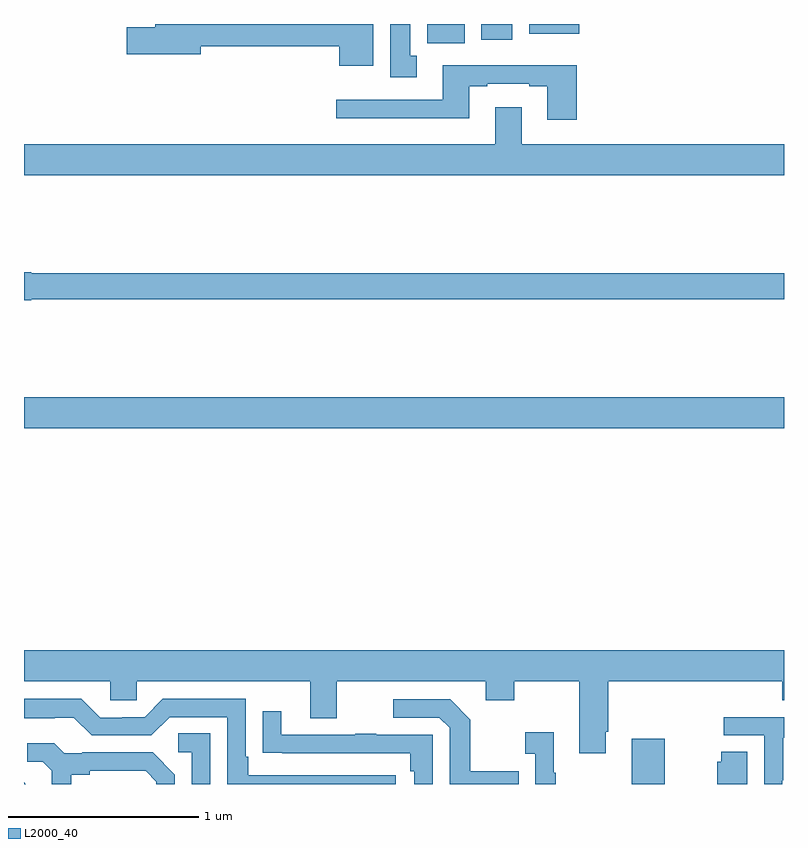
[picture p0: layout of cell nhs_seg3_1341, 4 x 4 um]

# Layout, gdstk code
import gdstk
lib = gdstk.Library(unit=1e-6, precision=1e-09)
def R(c, l, rs):  # rectangles x0, y0, x1, y1
    for r in rs: c.add(gdstk.rectangle(r[:2], r[2:], *l))
def P(c, l, *ps):  # polygons
    for p in ps: c.add(gdstk.Polygon(p, *l))
L2000_40 = (2000, 40)

nhs_seg3_1341 = lib.new_cell('nhs_seg3_1341')
R(nhs_seg3_1341, L2000_40, [(184.199,676.4,184.372,676.639), (181,678.272,185,678.436), (183.122,680.3,183.319,680.4), (183.407,680.318,183.571,680.4), (183.659,680.348,183.923,680.4)])
P(nhs_seg3_1341, L2000_40, [(182.839,680.4),(181.691,680.4),(181.691,680.384),(181.542,680.384),(181.542,680.242),(181.93,680.242),(181.93,680.284),(182.66,680.284),(182.66,680.18),(182.839,680.18)],
  [(183.067,680.234),(183.034,680.234),(183.034,680.4),(182.927,680.4),(182.927,680.121),(183.067,680.121)],
  [(183.908,680.182),(183.203,680.182),(183.203,680.001),(182.643,680.001),(182.643,679.904),(183.343,679.904),(183.343,680.073),(183.439,680.073),(183.439,680.085),(183.659,680.085),(183.659,680.073),(183.755,680.073),(183.755,679.896),(183.908,679.896)],
  [(185,679.768),(183.619,679.768),(183.619,679.963),(183.479,679.963),(183.479,679.768),(181,679.768),(181,679.604),(185,679.604)],
  [(181.038,678.952),(185,678.952),(185,679.088),(181.038,679.088),(181.038,679.094),(181,679.094),(181,678.947),(181.038,678.947)],
  [(184.063,676.675),(184.076,676.675),(184.076,676.94),(184.991,676.94),(184.991,676.841),(185,676.841),(185,677.104),(181,677.104),(181,676.94),(181.455,676.94),(181.455,676.842),(181.593,676.842),(181.593,676.94),(182.507,676.94),(182.507,676.746),(182.647,676.746),(182.647,676.94),(183.431,676.94),(183.431,676.841),(183.579,676.841),(183.579,676.94),(183.923,676.94),(183.923,676.563),(184.063,676.563)],
  [(182.956,676.446),(182.179,676.446),(182.179,676.543),(182.166,676.543),(182.166,676.848),(181.731,676.848),(181.635,676.752),(181.517,676.752),(181.517,676.749),(181.401,676.749),(181.301,676.849),(181,676.849),(181,676.745),(181.163,676.745),(181.163,676.749),(181.263,676.749),(181.356,676.656),(181.671,676.656),(181.767,676.752),(182.07,676.752),(182.07,676.4),(182.956,676.4)],
  [(183.605,676.467),(183.349,676.467),(183.349,676.739),(183.243,676.845),(182.943,676.845),(182.943,676.749),(183.186,676.749),(183.24,676.695),(183.24,676.4),(183.605,676.4)],
  [(183.15,676.659),(182.855,676.659),(182.855,676.664),(182.743,676.664),(182.743,676.659),(182.353,676.659),(182.353,676.783),(182.257,676.783),(182.257,676.564),(182.359,676.564),(182.359,676.563),(183.034,676.563),(183.034,676.466),(183.054,676.466),(183.054,676.4),(183.15,676.4)],
  [(184.992,676.42),(184.995,676.42),(184.995,676.644),(185,676.644),(185,676.752),(184.683,676.752),(184.683,676.656),(184.896,676.656),(184.896,676.4),(184.992,676.4)],
  [(183.799,676.459),(183.787,676.459),(183.787,676.672),(183.639,676.672),(183.639,676.559),(183.69,676.559),(183.69,676.4),(183.799,676.4)],
  [(181.98,676.667),(181.812,676.667),(181.812,676.566),(181.884,676.566),(181.884,676.4),(181.98,676.4)],
  [(181.249,676.448),(181.345,676.448),(181.345,676.47),(181.64,676.47),(181.697,676.413),(181.697,676.4),(181.794,676.4),(181.794,676.45),(181.678,676.566),(181.306,676.566),(181.306,676.563),(181.212,676.563),(181.16,676.615),(181.017,676.615),(181.017,676.518),(181.098,676.518),(181.145,676.471),(181.145,676.4),(181.249,676.4)],
  [(184.807,676.571),(184.669,676.571),(184.669,676.518),(184.649,676.518),(184.649,676.4),(184.807,676.4)],
  [(181,676.41),(181,676.4),(181.01,676.4)])

lib.write_gds('nhs_seg3_1341.gds')
